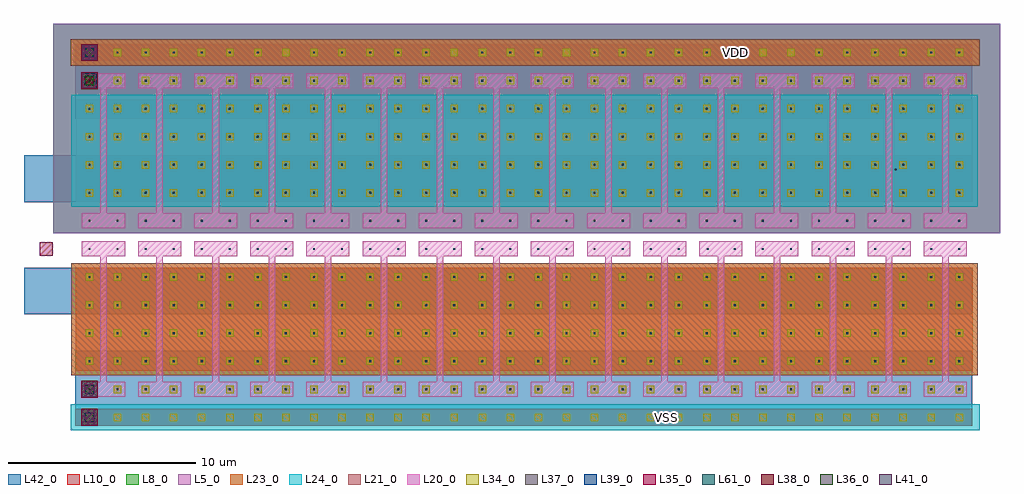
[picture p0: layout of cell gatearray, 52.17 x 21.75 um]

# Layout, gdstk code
import gdstk
lib = gdstk.Library(unit=1e-6, precision=1e-09)
def R(c, l, rs):  # rectangles x0, y0, x1, y1
    for r in rs: c.add(gdstk.rectangle(r[:2], r[2:], *l))
def A(c, l, x, y, w, h, nx, ny, dx, dy):  # array of equal rectangles
    R(c, l, [(x+i*dx, y+j*dy, x+i*dx+w, y+j*dy+h) for i in range(nx) for j in range(ny)])
def P(c, l, *ps):  # polygons
    for p in ps: c.add(gdstk.Polygon(p, *l))
L5_0 = (5, 0)
L8_0 = (8, 0)
L10_0 = (10, 0)
L20_0 = (20, 0)
L21_0 = (21, 0)
L23_0 = (23, 0)
L24_0 = (24, 0)
L34_0 = (34, 0)
L35_0 = (35, 0)
L36_0 = (36, 0)
L37_0 = (37, 0)
L38_0 = (38, 0)
L39_0 = (39, 0)
L41_0 = (41, 0)
L42_0 = (42, 0)
L61_0 = (61, 0)

gatearray = lib.new_cell('gatearray')
R(gatearray, L5_0, [(-1.925,-9.65,48.675,1.55)])
R(gatearray, L8_0, [(-1.925,-9.65,48.675,1.55)])
R(gatearray, L10_0, [(-0.75,-19.95,47.2,-19.05), (-0.725,-17,47.225,-11.5), (-0.725,-8,47.225,-2.5), (-0.75,-0.45,47.2,0.45)])
A(gatearray, L20_0, -0.4, -18.4, 2.3, 0.8, 16, 2, 3, 7.5)
A(gatearray, L20_0, 0.575, -17.6, 0.35, 6.7, 16, 1, 3, 0)
A(gatearray, L20_0, -0.4, -9.4, 2.3, 0.8, 16, 1, 3, 0)
R(gatearray, L20_0, [(-0.4,-18.4,0.4,-17.6), (3.575,-8.6,3.925,-1.9), (6.575,-8.6,6.925,-1.9), (12.575,-8.6,12.925,-1.9), (15.575,-8.6,15.925,-1.9), (21.575,-8.6,21.925,-1.9), (24.575,-8.6,24.925,-1.9), (30.575,-8.6,30.925,-1.9), (33.575,-8.6,33.925,-1.9), (39.575,-8.6,39.925,-1.9), (42.575,-8.6,42.925,-1.9), (-0.4,-1.9,0.4,-1.1), (2.6,-1.9,4.9,-1.1), (5.6,-1.9,7.9,-1.1), (11.6,-1.9,13.9,-1.1), (14.6,-1.9,16.9,-1.1), (20.6,-1.9,22.9,-1.1), (23.6,-1.9,25.9,-1.1), (29.6,-1.9,31.9,-1.1), (32.6,-1.9,34.9,-1.1), (38.6,-1.9,40.9,-1.1), (41.6,-1.9,43.9,-1.1)])
P(gatearray, L20_0, [(-0.4,-1.9),(0.575,-1.9),(0.575,-8.6),(0.925,-8.6),(0.925,-1.9),(1.9,-1.9),(1.9,-1.1),(-0.4,-1.1)],
  [(35.6,-1.9),(36.575,-1.9),(36.575,-8.6),(36.925,-8.6),(36.925,-1.9),(37.9,-1.9),(37.9,-1.1),(35.6,-1.1)],
  [(44.6,-1.9),(45.575,-1.9),(45.575,-8.6),(45.925,-8.6),(45.925,-1.9),(46.9,-1.9),(46.9,-1.1),(44.6,-1.1)],
  [(8.6,-1.9),(9.575,-1.9),(9.575,-8.6),(9.925,-8.6),(9.925,-1.9),(10.9,-1.9),(10.9,-1.1),(8.6,-1.1)],
  [(26.6,-1.9),(27.575,-1.9),(27.575,-8.6),(27.925,-8.6),(27.925,-1.9),(28.9,-1.9),(28.9,-1.1),(26.6,-1.1)],
  [(17.6,-1.9),(18.575,-1.9),(18.575,-8.6),(18.925,-8.6),(18.925,-1.9),(19.9,-1.9),(19.9,-1.1),(17.6,-1.1)])
R(gatearray, L21_0, [(-0.975,-17.25,47.475,-11.25), (-1,-0.7,47.6,0.7)])
R(gatearray, L23_0, [(-0.975,-17.25,47.475,-11.25), (-1,-0.7,47.6,0.7)])
R(gatearray, L24_0, [(-1,-20.2,47.6,-18.8), (-0.975,-8.25,47.475,-2.25)])
A(gatearray, L34_0, -0.2, -19.7, 0.4, 0.4, 32, 6, 1.5, 1.5)
A(gatearray, L34_0, -0.2, -7.7, 0.4, 0.4, 32, 6, 1.5, 1.5)
R(gatearray, L34_0, [(-0.2,-18.2,0.2,-17.8), (-0.2,-1.7,0.2,-1.3)])
R(gatearray, L35_0, [(-0.45,-19.95,0.45,-19.05), (-0.45,-18.45,0.45,-17.55), (-0.35,-18.35,0.35,-17.65), (-2.65,-10.85,-1.95,-10.15), (-0.45,-1.95,0.45,-1.05), (-0.35,-1.85,0.35,-1.15), (-0.45,-0.45,0.45,0.45)])
R(gatearray, L36_0, [(-0.25,-19.75,0.25,-19.25), (-0.25,-18.25,0.25,-17.75), (-0.25,-1.75,0.25,-1.25), (-0.25,-0.25,0.25,0.25)])
R(gatearray, L37_0, [(-0.45,-19.95,0.45,-19.05), (-0.4,-19.9,0.4,-19.1), (-0.45,-18.45,0.45,-17.55), (-0.4,-18.4,0.4,-17.6), (-0.45,-1.95,0.45,-1.05), (-0.4,-1.9,0.4,-1.1), (-0.45,-0.45,0.45,0.45), (-0.4,-0.4,0.4,0.4)])
R(gatearray, L38_0, [(-0.25,-19.75,0.25,-19.25), (-0.25,-18.25,0.25,-17.75), (-0.25,-1.75,0.25,-1.25), (-0.25,-0.25,0.25,0.25)])
R(gatearray, L39_0, [(-0.45,-19.95,0.45,-19.05), (-0.4,-19.9,0.4,-19.1), (-0.45,-18.45,0.45,-17.55), (-0.4,-18.4,0.4,-17.6), (-0.4,-1.9,0.4,-1.1), (-0.45,-0.45,0.45,0.45), (-0.4,-0.4,0.4,0.4)])
R(gatearray, L41_0, [(-0.25,-19.75,0.25,-19.25), (-0.25,-18.25,0.25,-17.75), (-0.25,-0.25,0.25,0.25)])
R(gatearray, L42_0, [(-0.75,-19.95,47.2,-15.95), (-0.4,-19.9,0.4,-19.1), (-0.4,-18.4,0.4,-17.6), (-3.5,-14,47.2,-11.5), (-3.5,-8,47.2,-5.5), (-0.75,-3.55,47.2,0.45), (-0.4,-0.4,0.4,0.4)])
A(gatearray, L61_0, -0.05, -18.05, 0.1, 0.1, 32, 5, 1.5, 1.5)
A(gatearray, L61_0, -0.05, -10.55, 0.1, 0.1, 22, 1, 1.5, 0)
A(gatearray, L61_0, 34.45, -10.55, 0.1, 0.1, 9, 1, 1.5, 0)
A(gatearray, L61_0, -0.05, -9.05, 0.1, 0.1, 3, 1, 1.5, 0)
A(gatearray, L61_0, 2.95, -9.05, 0.1, 0.1, 30, 1, 1.5, 0)
A(gatearray, L61_0, -0.05, -7.55, 0.1, 0.1, 32, 5, 1.5, 1.5)
A(gatearray, L61_0, 1.45, -0.05, 0.1, 0.1, 6, 1, 1.5, 0)
A(gatearray, L61_0, 11.95, -0.05, 0.1, 0.1, 5, 1, 1.5, 0)
A(gatearray, L61_0, 20.95, -0.05, 0.1, 0.1, 3, 1, 1.5, 0)
A(gatearray, L61_0, 26.95, -0.05, 0.1, 0.1, 5, 1, 1.5, 0)
A(gatearray, L61_0, 38.95, -0.05, 0.1, 0.1, 6, 1, 1.5, 0)
R(gatearray, L61_0, [(33,-10.55,33.1,-10.45), (43.05,-6.3,43.15,-6.2)])
gatearray.add(gdstk.Label('VDD', (34.55,0), layer=625, texttype=0))
gatearray.add(gdstk.Label('VSS', (30.85,-19.5), layer=625, texttype=0))

lib.write_gds('gatearray.gds')
